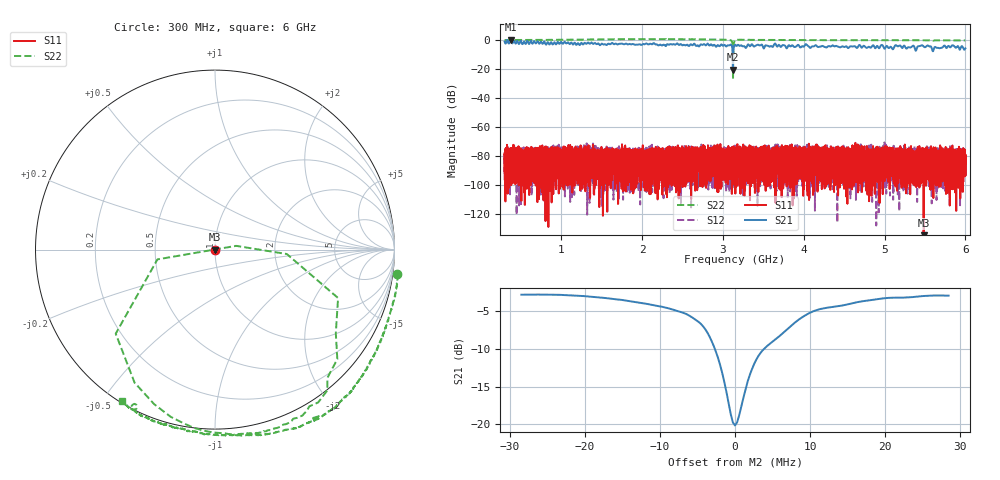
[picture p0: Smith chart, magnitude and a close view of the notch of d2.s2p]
!Agilent Technologies,N5230C,SG49000117,A.08.50.07
!Agilent N5230C: A.08.50.07
!Date: Sunday, March 17, 2024 09:20:07
!Correction: S11(Off)
!S21(Off)
!S12(Off)
!S22(Full 1 Port(2))
!S2P File: Measurements: S11, S21, S12, S22:
# Hz S  RI  R 50
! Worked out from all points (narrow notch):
!   20001 points, 300 MHz to 6 GHz, reference 50 ohm
!   highest |S21| = 0.47 dB at 374.1 MHz (marker M1); lowest = -20.1 dB at 3.123 GHz (marker M2)
!   notch at M2: 16.7 dB deep, 4.78 MHz wide at half that depth
!   lowest |S11| = -136.2 dB at 5.484 GHz (marker M3), VSWR 1.00, Z = 50 - j1.12e-05 ohm
!   |S11| at or under -10 dB: start of sweep to end of sweep
!   |S22| runs from -26.8 to 0.9 dB; largest |S21 - S12| = 1.1
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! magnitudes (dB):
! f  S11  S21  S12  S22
! 300 MHz  -90.1  -0.9  -80.8  0.2
! 374.1 MHz  -83.6  0.5  -81.7  0.3
! 1.25 GHz  -81.4  -1.7  -80.9  0.5
! 2.2 GHz  -78.8  -3.5  -79.4  0.9
! 3.056 GHz  -85.4  -3.5  -78.4  0.4
! 3.091 GHz  -81.7  -3.0  -85.8  0.1
! 3.104 GHz  -89.1  -3.1  -82.2  -0.1
! 3.123 GHz  -99.5  -20.1  -78.7  -10.8
! 3.15 GHz  -81.8  -3.0  -85.3  0.1
! 3.161 GHz  -88.6  -3.6  -82.3  0.3
! 3.189 GHz  -81.8  -3.0  -82.1  0.4
! 3.977 GHz  -82.1  -4.1  -92.6  0.2
! 4.034 GHz  -77.5  -2.8  -84.2  0.2
! 4.1 GHz  -91.0  -4.2  -78.0  0.2
! 5.05 GHz  -85.3  -5.3  -77.9  0.1
! 5.162 GHz  -82.3  -4.1  -83.1  0.1
! 5.394 GHz  -83.5  -6.4  -95.4  0.1
! 5.484 GHz  -136.2  -4.2  -84.0  0.1
! 5.55 GHz  -82.6  -4.0  -81.5  0.0
! 5.61 GHz  -94.2  -5.8  -83.8  -0.1
! 5.846 GHz  -77.8  -3.4  -83.9  0.0
! 6 GHz  -92.6  -5.5  -82.0  -0.1
